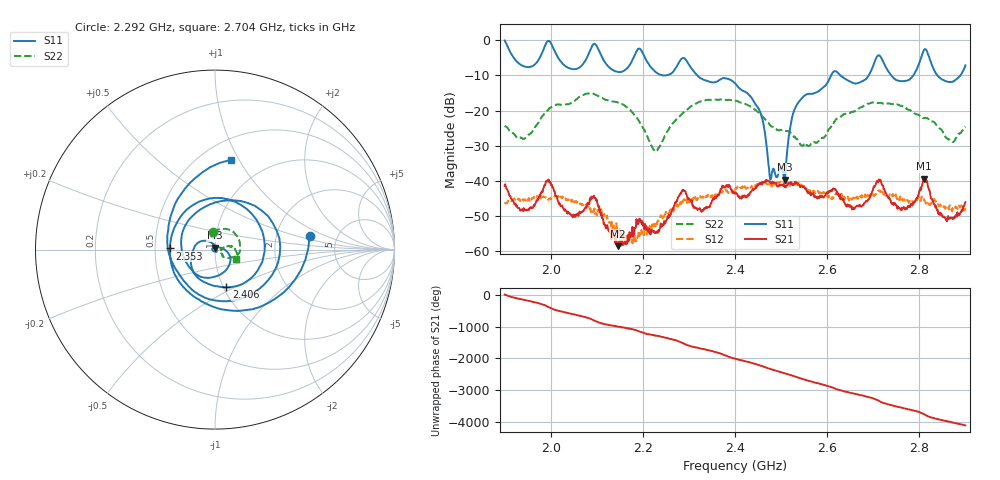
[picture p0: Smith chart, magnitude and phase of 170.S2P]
! C:\Users\rflab\Downloads\Lab5_KD_ZW\170.S2P
! Touchstone 1.1 file saved by VNA.EXE V1.65 (www.ke5fx.com/gpib/readme.htm)
! 11/12/2024 12:16:32 AM
!  Source: HEWLETT PACKARD,8753D,0,6.14
!  Min freq: 1.900000E+009 Hz
!  Max freq: 2.900000E+009 Hz
!  Points: 801
!  Params: S11 S21 S12 S22
# GHZ S RI R 50
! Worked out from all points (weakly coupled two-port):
!   801 points, 1.9 GHz to 2.9 GHz, reference 50 ohm
!   highest |S21| = -39.35 dB at 2.81 GHz (marker M1); lowest = -58.5 dB at 2.145 GHz (marker M2)
!   lowest |S11| = -39.7 dB at 2.507 GHz (marker M3), VSWR 1.02, Z = 49.8 + j1.02 ohm
!   |S11| at or under -10 dB: 2.318 GHz to 2.609 GHz (290.4 MHz wide, 11.8 % of centre); 2.629 GHz to 2.69 GHz (61.47 MHz wide, 2.31 % of centre); 2.839 GHz to 2.889 GHz (50.02 MHz wide, 1.75 % of centre) (the widest 3 of 5)
!   |S22| runs from -31.6 to -15.1 dB; largest |S21 - S12| = 0.0059
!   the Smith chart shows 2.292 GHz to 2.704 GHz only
!   S11 on the Smith chart (normalised r, x): 2.292 GHz: 3.12, +0.68; 2.353 GHz: 0.60, +0.01; 2.406 GHz: 1.03, -0.46; 2.704 GHz: 0.69, +0.92
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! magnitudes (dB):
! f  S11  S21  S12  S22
! 1.9 GHz  -0.1  -41.3  -46.5  -24.4
! 1.944 GHz  -7.5  -48.4  -45.2  -28.0
! 1.995 GHz  -0.2  -39.6  -45.4  -19.7
! 2.067 GHz  -7.2  -48.8  -46.7  -15.8
! 2.095 GHz  -1.0  -44.8  -47.8  -15.3
! 2.145 GHz  -9.0  -58.5  -53.8  -17.7
! 2.192 GHz  -2.4  -50.7  -55.7  -23.2
! 2.234 GHz  -9.6  -53.9  -51.3  -30.6
! 2.292 GHz  -5.5  -43.0  -45.3  -20.0
! 2.353 GHz  -12.0  -44.9  -43.6  -16.9
! 2.4 GHz  -12.2  -43.6  -42.9  -17.2
! 2.406 GHz  -13.2  -44.3  -42.0  -17.3
! 2.455 GHz  -20.5  -40.9  -40.9  -21.0
! 2.478 GHz  -39.6  -40.6  -40.9  -24.3
! 2.507 GHz  -39.7  -41.7  -40.8  -25.7
! 2.529 GHz  -19.8  -40.7  -40.5  -27.3
! 2.567 GHz  -15.2  -43.7  -42.4  -29.1
! 2.704 GHz  -5.9  -41.4  -44.1  -17.7
! 2.734 GHz  -9.1  -44.9  -45.0  -17.9
! 2.81 GHz  -2.8  -39.4  -45.2  -22.1
! 2.855 GHz  -11.5  -50.2  -47.2  -27.1
! 2.9 GHz  -7.1  -46.0  -48.5  -24.5
